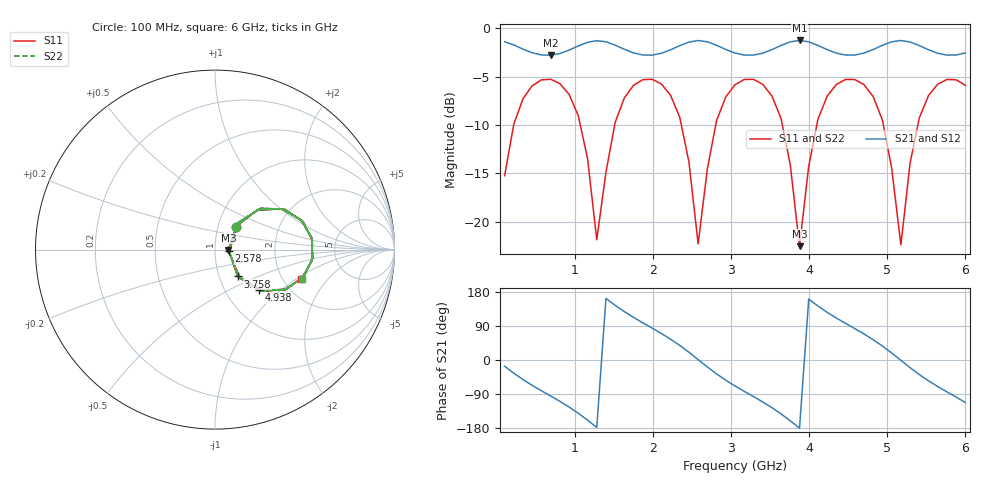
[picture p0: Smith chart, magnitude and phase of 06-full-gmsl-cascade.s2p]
! UNVERIFIED synthetic. Does not qualify hardware.
! Full GMSL cascade. UNVERIFIED. Not a qualification.
# Hz S RI R 50
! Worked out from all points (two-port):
!   51 points, 100 MHz to 6 GHz, reference 50 ohm
!   highest |S21| = -1.24 dB at 3.876 GHz (marker M1); lowest = -2.8 dB at 690 MHz (marker M2)
!   |S21| within 3 dB of the highest: start of sweep to end of sweep
!   lowest |S11| = -22.5 dB at 3.876 GHz (marker M3), VSWR 1.16, Z = 58.1 - j0.173 ohm
!   |S11| at or under -10 dB: 1.069 GHz to 1.509 GHz (439.9 MHz wide, 34.1 % of centre); 2.363 GHz to 2.803 GHz (440.5 MHz wide, 17.1 % of centre); 3.656 GHz to 4.097 GHz (440.9 MHz wide, 11.4 % of centre)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
!   |S22| runs from -22.5 to -5.2 dB; largest |S21 - S12| = 0
!   S11 on the Smith chart (normalised r, x): 100 MHz: 1.22, +0.32; 2.578 GHz: 1.16, -0.02; 3.758 GHz: 1.23, -0.38; 4.938 GHz: 1.43, -0.73; 6 GHz: 2.51, -1.10
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1e8  0.1173 0.1272  0.8188 -0.2417  0.8188 -0.2417  0.1173 0.1273
3.36e8  0.3686 0.2275  0.4842 -0.6136  0.4842 -0.6136  0.3689 0.2277
6.9e8  0.5443 -0.0426  -0.0647 -0.7242  -0.0647 -0.7242  0.5449 -0.0427
1.162e9  0.1401 -0.159  -0.7897 -0.3083  -0.7897 -0.3083  0.1405 -0.1599
1.28e9  0.079 -0.0163  -0.864 -0.0307  -0.864 -0.0307  0.0791 -0.0173
1.634e9  0.3752 0.2261  -0.4747 0.6186  -0.4747 0.6186  0.3746 0.2256
2.106e9  0.4935 -0.1524  0.2525 0.6996  0.2525 0.6996  0.4932 -0.1524
2.342e9  0.2592 -0.2309  0.6367 0.5083  0.6367 0.5083  0.2592 -0.2309
2.578e9  0.0762 -0.00876  0.8658 0.0162  0.8658 0.0162  0.0762 -0.00919
2.814e9  0.2452 0.2259  0.6566 -0.4887  0.6566 -0.4887  0.2446 0.2253
3.05e9  0.4855 0.1602  0.2737 -0.6941  0.2737 -0.6941  0.4845 0.1599
3.522e9  0.3875 -0.2252  -0.4529 -0.6312  -0.4529 -0.6312  0.3864 -0.2244
3.758e9  0.1276 -0.1497  -0.8034 -0.2846  -0.8034 -0.2846  0.1271 -0.1485
3.876e9  0.0747 -0.00148  -0.8668 -0.00159  -0.8668 -0.00159  0.0746 -0.000304
4.112e9  0.2504 0.2285  -0.6479 0.4982  -0.6479 0.4982  0.2508 0.2291
4.466e9  0.5419 0.0547  -0.0838 0.7232  -0.0838 0.7232  0.5417 0.0548
4.938e9  0.2463 -0.2271  0.6548 0.4909  0.6548 0.4909  0.2456 -0.2259
5.056e9  0.1239 -0.1432  0.8086 0.2714  0.8086 0.2714  0.1234 -0.1416
5.174e9  0.0756 0.00628  0.8662 -0.0131  0.8662 -0.0131  0.0757 0.00816
5.41e9  0.2569 0.2299  0.6387 -0.5066  0.6387 -0.5066  0.2581 0.2314
5.764e9  0.5423 0.0499  0.0747 -0.7238  0.0747 -0.7238  0.5438 0.0501
6e9  0.4816 -0.1626  -0.2811 -0.692  -0.2811 -0.692  0.4826 -0.1629
